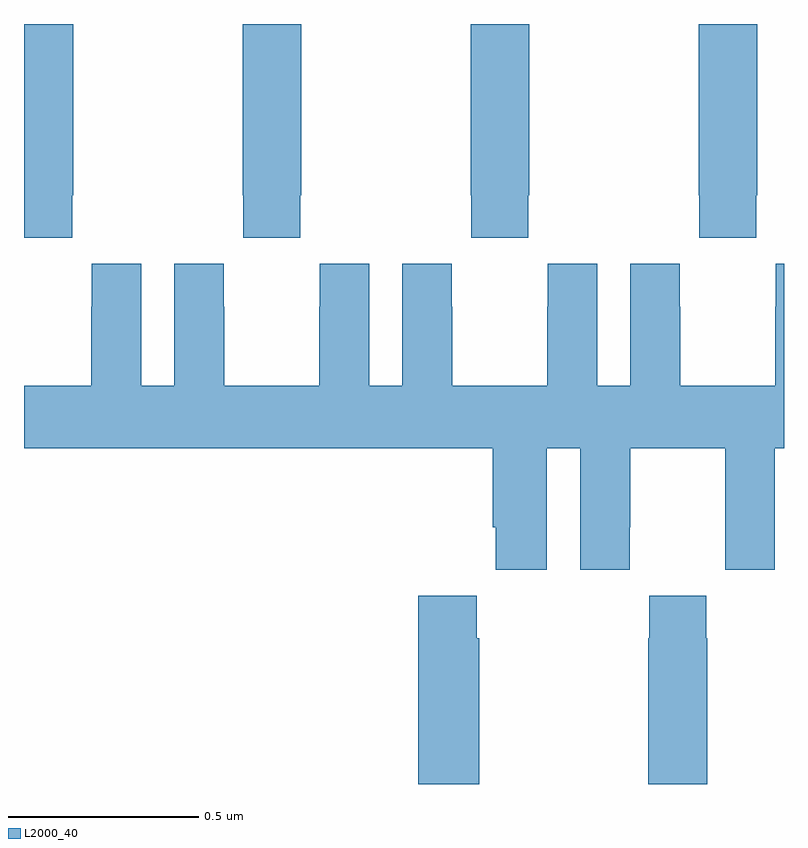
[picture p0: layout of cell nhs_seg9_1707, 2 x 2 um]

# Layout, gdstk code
import gdstk
lib = gdstk.Library(unit=1e-6, precision=1e-09)
def P(c, l, *ps):  # polygons
    for p in ps: c.add(gdstk.Polygon(p, *l))
L2000_40 = (2000, 40)

nhs_seg9_1707 = lib.new_cell('nhs_seg9_1707')
P(nhs_seg9_1707, L2000_40, [(131.127,1233.049),(131.13,1233.049),(131.13,1233.5),(131,1233.5),(131,1232.937),(131.127,1232.937)],
  [(131.727,1233.049),(131.73,1233.049),(131.73,1233.5),(131.575,1233.5),(131.575,1233.049),(131.577,1233.049),(131.577,1232.937),(131.727,1232.937)],
  [(132.327,1233.049),(132.33,1233.049),(132.33,1233.5),(132.175,1233.5),(132.175,1233.049),(132.177,1233.049),(132.177,1232.937),(132.327,1232.937)],
  [(132.927,1233.049),(132.93,1233.049),(132.93,1233.5),(132.775,1233.5),(132.775,1233.049),(132.777,1233.049),(132.777,1232.937),(132.927,1232.937)],
  [(132.233,1232.176),(132.242,1232.176),(132.242,1232.064),(132.376,1232.064),(132.376,1232.384),(132.464,1232.384),(132.464,1232.064),(132.594,1232.064),(132.594,1232.176),(132.595,1232.176),(132.595,1232.384),(132.845,1232.384),(132.845,1232.176),(132.846,1232.176),(132.846,1232.064),(132.976,1232.064),(132.976,1232.384),(133,1232.384),(133,1232.869),(132.978,1232.869),(132.978,1232.756),(132.977,1232.756),(132.977,1232.548),(132.727,1232.548),(132.727,1232.756),(132.726,1232.756),(132.726,1232.869),(132.596,1232.869),(132.596,1232.548),(132.508,1232.548),(132.508,1232.869),(132.378,1232.869),(132.378,1232.756),(132.377,1232.756),(132.377,1232.548),(132.127,1232.548),(132.127,1232.756),(132.126,1232.756),(132.126,1232.869),(131.996,1232.869),(131.996,1232.548),(131.908,1232.548),(131.908,1232.869),(131.778,1232.869),(131.778,1232.756),(131.777,1232.756),(131.777,1232.548),(131.527,1232.548),(131.527,1232.756),(131.526,1232.756),(131.526,1232.869),(131.396,1232.869),(131.396,1232.548),(131.308,1232.548),(131.308,1232.869),(131.178,1232.869),(131.178,1232.756),(131.177,1232.756),(131.177,1232.548),(131,1232.548),(131,1232.384),(132.233,1232.384)],
  [(132.198,1231.883),(132.191,1231.883),(132.191,1231.996),(132.038,1231.996),(132.038,1231.5),(132.198,1231.5)],
  [(132.798,1231.883),(132.795,1231.883),(132.795,1231.996),(132.645,1231.996),(132.645,1231.883),(132.643,1231.883),(132.643,1231.5),(132.798,1231.5)])

lib.write_gds('nhs_seg9_1707.gds')
